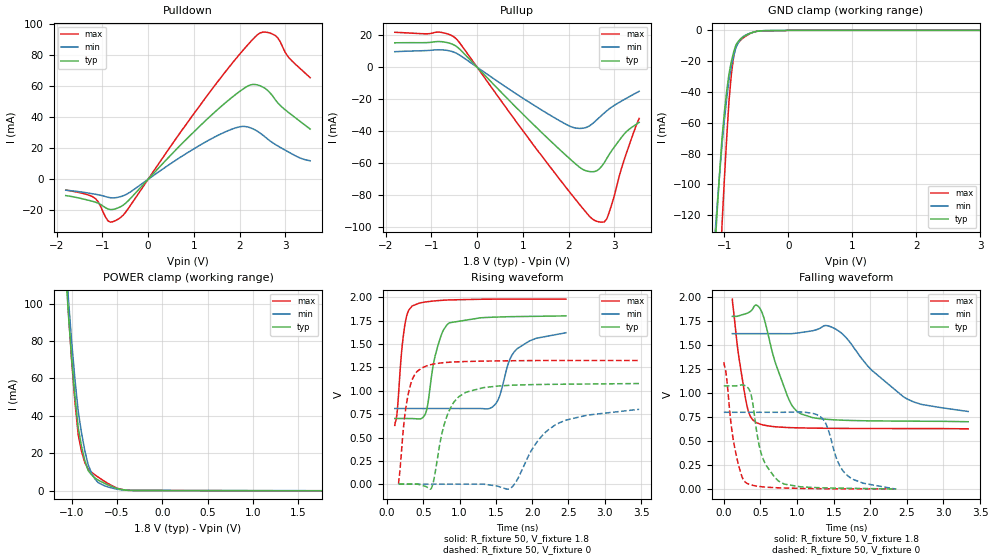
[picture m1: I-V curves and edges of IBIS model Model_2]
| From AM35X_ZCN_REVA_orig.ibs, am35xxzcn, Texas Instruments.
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| Model based on original model for BC1833DV40CTPBFHP18LL_7LM
|   Sub model HP18LL_7LM_PU_ON_1P8
[model]   Model_2
|[Description]  1.8V-I/O-PU-X
|[Input Load]   PU
|[Output Drive]
|Voltage   1.8V
|Mode   I/O
Model_type   I/O
Polarity   Non-Inverting
Enable   Active-Low
Vinl =  0.63V
Vinh =  1.17V
Cref =  15pF
Rref =  100.0000M
Vref =  0V
Vmeas =  0.9
C_comp   2.232809p   2.073051p   2.295852p
[Model Spec]
Vinl   0.63V   0.567V   0.693V
Vinh   1.17V   1.053V   1.287V
[Temperature Range]   25   125   -40
[Voltage Range]   1.8   1.62   1.98
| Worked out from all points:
|   slope of the pulldown table from 0 to 0.27 V, typ, clamps not added: 31.5 ohm
|   slope of the pullup table from 0 to 0.27 V, typ, clamps not added: 33.5 ohm
|   GND clamp passes 1 mA (typ) near -0.53 V on its own axis
|   POWER clamp passes 1 mA (typ) near -0.49 V on its own axis
|   rising waveform, R_fixture 50, V_fixture 1.8: 20-80 % time 167ps typ, 248ps min, 94.1ps max; typ from 0.703 V to 1.8 V
|   rising waveform, R_fixture 50, V_fixture 0: 20-80 % time 225ps typ, 473ps min, 131ps max; typ from 0.003 V to 1.08 V
|   falling waveform, R_fixture 50, V_fixture 1.8: 20-80 % time 282ps typ, 648ps min, 154ps max; typ from 1.8 V to 0.703 V
|   falling waveform, R_fixture 50, V_fixture 0: 20-80 % time 206ps typ, 247ps min, 145ps max; typ from 1.08 V to 0.003 V
[POWER_clamp]
-1.8V     842.2mA    869.2mA    912.6mA
-1.073V   123.5mA    130.8mA    128.8mA
-1.036V   94.66mA    102.8mA    96.27mA
-1V       70.68mA    79.61mA    69.37mA
-963.6mV  50.27mA    59.42mA    47.18mA
-927.3mV  33.45mA    42.25mA    29.69mA
-890.9mV  23.53mA    30.71mA    20.96mA
-818.2mV  10.69mA    13.79mA    11.39mA
-709.1mV  5.603mA    4.298mA    7.212mA
-527.3mV  1.593mA    1.002mA    1.9mA
-381.8mV  140.2uA    115.9uA    126.2uA
1.764V    -143.5uA   -80.18uA   -225.9uA
[Pulldown]
-1.8V     -10.48mA   -6.986mA   -6.871mA
-1.145V   -14.76mA   -9.635mA   -12.53mA
-872.7mV  -19.16mA   -11.57mA   -26.86mA
-600mV    -17.63mA   -11.14mA   -24.6mA
1.636V    48.02mA    29.94mA    67.34mA
2.073V    58.18mA    34.17mA    83.16mA
2.291V    61.26mA    32.65mA    90.37mA
2.455V    60.31mA    29.78mA    94.52mA
2.618V    57.35mA    25.94mA    94.79mA
2.782V    51.42mA    22.55mA    92.8mA
3.055V    43.58mA    17.93mA    79.45mA
3.545V    32.44mA    11.99mA    65.6mA
[Pullup]
-1.8V     15.25mA    9.689mA    21.84mA
-818.2mV  16.04mA    10.87mA    21.92mA
-490.9mV  13.71mA    9.212mA    18.64mA
1.036V    -30.4mA    -20.07mA   -41.09mA
2.018V    -57.1mA    -36.81mA   -77.94mA
2.345V    -64.48mA   -38.06mA   -89.56mA
2.618V    -64.84mA   -32.95mA   -96.49mA
2.782V    -59.78mA   -28.7mA    -96.85mA
2.836V    -57.13mA   -27.34mA   -95.03mA
3V        -50.06mA   -23.92mA   -80.64mA
3.218V    -41.82mA   -20.26mA   -57.92mA
3.545V    -34.58mA   -15.09mA   -32.06mA
[GND_clamp]
-1.8V     -697.8mA   -553.3mA   -1.259A
-1.145V   -140.7mA   -131.7mA   -248.4mA
-1.109V   -115.2mA   -111.7mA   -203.4mA
-1.036V   -69.7mA    -74.11mA   -126mA
-1V       -53.27mA   -58.3mA    -96.66mA
-927.3mV  -28.09mA   -31.91mA   -45.55mA
-890.9mV  -20.27mA   -23.4mA    -28.66mA
-854.5mV  -14.02mA   -16.45mA   -16.78mA
-818.2mV  -9.341mA   -11.08mA   -9.899mA
-672.7mV  -3.472mA   -3.23mA    -3.981mA
-18.18mV  0A         0A         0A
3.6V      0A         0A         0A
[Ramp]
dV/dt_f 0.72682979/0.29573022n 0.53625045/0.67567968n 0.89028966/0.1617921n
dV/dt_r 0.67767018/0.22461056n 0.51232356/0.47222638n  0.8105986/0.13074089n
R_load = 50
[Rising Waveform]
R_fixture = 50
V_fixture = 1.8
V_fixture_min = 1.62
V_fixture_max = 1.98
106.2ps   703.5mV    810.1mV    629.7mV
140.5ps   703.5mV    810.1mV    783.5mV
243.1ps   703.5mV    810.1mV    1.693V
345.1ps   702.9mV    810.1mV    1.906V
529ps     755.4mV    810.1mV    1.949V
661.9ps   1.37V      810.1mV    1.961V
860.5ps   1.726V     810.1mV    1.971V
1.456ns   1.786V     829mV      1.979V
1.766ns   1.793V     1.429V     1.979V
2.465ns   1.8V       1.62V      1.98V
[Rising Waveform]
R_fixture = 50
V_fixture = 0
V_fixture_min = 0
V_fixture_max = 0
159.1ps   2.803mV    1.768mV    3.968mV
228.6ps   2.837mV    1.771mV    623.9mV
282.8ps   2.439mV    1.771mV    928.9mV
473.2ps   -8.902mV   1.768mV    1.241V
613.4ps   -37.7mV    1.768mV    1.281V
820.7ps   718.9mV    1.767mV    1.303V
1.088ns   984.4mV    1.474mV    1.313V
1.682ns   1.058V     -48.45mV   1.32V
2.313ns   1.069V     631.6mV    1.323V
3.475ns   1.077V     801.8mV    1.323V
[Falling Waveform]
R_fixture = 50
V_fixture = 1.8
V_fixture_min = 1.62
V_fixture_max = 1.98
116.8ps   1.8V       1.62V      1.98V
195.7ps   1.803V     1.62V      1.43V
301.6ps   1.828V     1.62V      925.4mV
445ps     1.916V     1.62V      695.3mV
541.1ps   1.799V     1.62V      669.4mV
864.6ps   979.9mV    1.62V      643.4mV
1.05ns    786.2mV    1.631V     639.3mV
1.506ns   723.5mV    1.676V     634.6mV
2.453ns   709.7mV    962.9mV    632.3mV
3.338ns   703.5mV    810.1mV    629.7mV
[Falling Waveform]
R_fixture = 50
V_fixture = 0
V_fixture_min = 0
V_fixture_max = 0
0s        1.077V     801.8mV    1.323V
33.41ps   1.077V     801.8mV    1.193V
138.9ps   1.077V     801.8mV    474mV
300.7ps   1.076V     801.8mV    70.3mV
375.7ps   975.3mV    801.8mV    45.48mV
521.3ps   348.8mV    801.8mV    26.61mV
747.2ps   86.25mV    801.8mV    15.81mV
1.302ns   17.06mV    764.7mV    6.793mV
1.674ns   11.64mV    152.8mV    4.922mV
2.354ns   2.803mV    1.768mV    3.968mV
